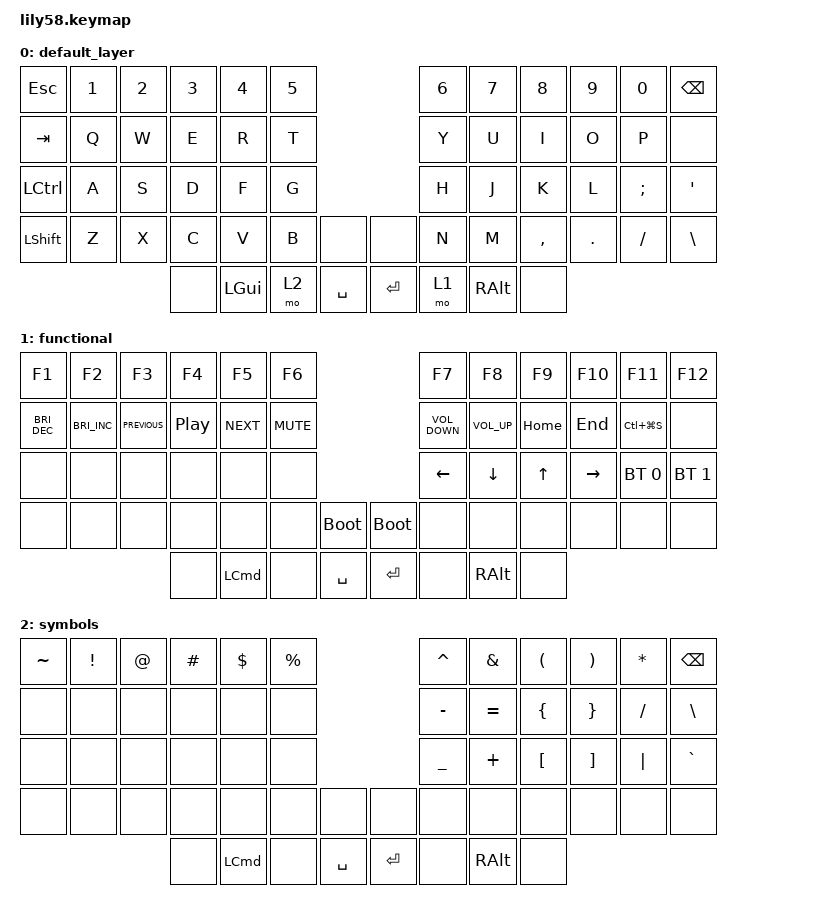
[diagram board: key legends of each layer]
/*
 * Copyright (c) 2020 The ZMK Contributors
 *
 * SPDX-License-Identifier: MIT
 */

#include <behaviors.dtsi>
#include <dt-bindings/zmk/bt.h>
#include <dt-bindings/zmk/keys.h>

/ {
    combos { compatible = "zmk,combos"; };

    behaviors {
        ss_hs_modmorph: ss_hs_modmorph {
            compatible = "zmk,behavior-mod-morph";
            label = "SS_HS_MODMORPH";
            bindings = <&kp M>, <&kp RIGHT_BRACKET>;

            #binding-cells = <0>;
            mods = <(MOD_LSFT|MOD_RSFT)>;
        };

        kh_hs_tapdance: kh_hs_tapdance {
            compatible = "zmk,behavior-tap-dance";
            label = "KH_HS_TAPDANCE";
            #binding-cells = <0>;
            tapping-term-ms = <200>;
            bindings = <&kp LEFT_BRACKET>, <&kp RIGHT_BRACKET>;
        };

        hrm: hrm {
            compatible = "zmk,behavior-hold-tap";
            #binding-cells = <2>;
            flavor = "tap-preferred";
            tapping-term-ms = <200>;
            quick-tap-ms = <200>;
            require-prior-idle-ms = <125>;
            bindings = <&kp>, <&kp>;
        };
    };

    keymap {
        compatible = "zmk,keymap";

        default_layer {
            // ------------------------------------------------------------------------------------------------------------
            // |  ESC  |  1  |  2  |  3   |  4   |  5   |                   |  6   |  7    |  8    |  9   |   0   |   `   |
            // |  TAB  |  Q  |  W  |  E   |  R   |  T   |                   |  Y   |  U    |  I    |  O   |   P   |   -   |
            // |  CTRL |  A  |  S  |  D   |  F   |  G   |                   |  H   |  J    |  K    |  L   |   ;   |   '   |
            // | SHIFT |  Z  |  X  |  C   |  V   |  B   |   "["  |  |  "]"  |  N   |  M    |  ,    |  .   |   /   | SHIFT |
            //                     | ALT  | GUI  | LOWER|  SPACE |  | ENTER | RAISE| BSPC  | GUI   |

            bindings = <
&kp ESC    &kp N1  &kp N2  &kp N3  &kp N4    &kp N5                        &kp N6  &kp N7         &kp N8     &kp N9   &kp N0    &kp BACKSPACE
&kp TAB    &kp Q   &kp W   &kp E   &kp R     &kp T                         &kp Y   &kp U          &kp I      &kp O    &kp P     &none
&kp LCTRL  &kp A   &kp S   &kp D   &kp F     &kp G                         &kp H   &kp J          &kp K      &kp L    &kp SEMI  &kp SINGLE_QUOTE
&kp LSHFT  &kp Z   &kp X   &kp C   &kp V     &kp B   &none        &none    &kp N   &kp M          &kp COMMA  &kp DOT  &kp FSLH  &kp BACKSLASH
                           &none   &kp LGUI  &mo 2   &kp SPACE    &kp RET  &mo 1   &kp RIGHT_ALT  &none
            >;
        };

        functional {
            bindings = <
&kp F1                &kp F2                &kp F3          &kp F4            &kp F5            &kp F6                                  &kp F7             &kp F8           &kp F9        &kp F10          &kp F11        &kp F12
&kp C_BRIGHTNESS_DEC  &kp C_BRIGHTNESS_INC  &kp C_PREVIOUS  &kp C_PLAY_PAUSE  &kp C_NEXT        &kp C_MUTE                              &kp C_VOLUME_DOWN  &kp C_VOLUME_UP  &kp HOME      &kp END          &kp LC(LG(S))  &none
&none                 &none                 &none           &none             &none             &none                                   &kp LEFT_ARROW     &kp DOWN_ARROW   &kp UP_ARROW  &kp RIGHT_ARROW  &bt BT_SEL 0   &bt BT_SEL 1
&none                 &none                 &none           &none             &none             &none       &bootloader    &bootloader  &none              &none            &none         &none            &none          &none
                                                            &none             &kp LEFT_COMMAND  &none       &kp SPACE      &kp ENTER    &none              &kp RIGHT_ALT    &none
            >;
        };

        symbols {
            bindings = <
&kp TILDE  &kp EXCL  &kp AT_SIGN  &kp HASH  &kp DOLLAR        &kp PERCENT                          &kp CARET  &kp AMPS       &kp LEFT_PARENTHESIS  &kp RIGHT_PARENTHESIS  &kp STAR   &kp BACKSPACE
&none      &none     &none        &none     &none             &none                                &kp MINUS  &kp EQUAL      &kp LEFT_BRACE        &kp RIGHT_BRACE        &kp SLASH  &kp BACKSLASH
&none      &none     &none        &none     &none             &none                                &kp UNDER  &kp PLUS       &kp LEFT_BRACKET      &kp RIGHT_BRACKET      &kp PIPE   &kp GRAVE
&none      &none     &none        &none     &none             &none        &none        &none      &none      &none          &none                 &none                  &none      &none
                                  &none     &kp LEFT_COMMAND  &none        &kp SPACE    &kp ENTER  &none      &kp RIGHT_ALT  &none
            >;
        };
    };
};
